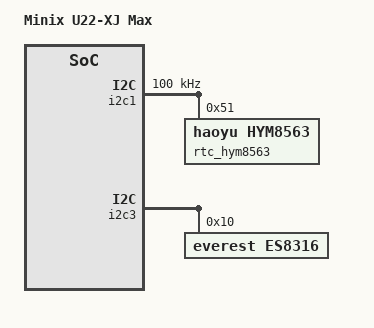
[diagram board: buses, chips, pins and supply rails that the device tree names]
#include "g12b_a311d_w400_linux.dts"
#include "coreelec_g12b_common.dtsi"

/ {
	model = "Minix U22-XJ Max";
	coreelec-dt-id = "g12b_s922x_minix_u22xj_max";

	memory@0 {
		linux,usable-memory = <0x0 0x0 0x0 0xf5000000>;
	};

	reserved-memory {
		secmon_reserved:linux,secmon {
			size = <0x0 0x2300000>;
			alloc-ranges = <0x0 0x05000000 0x0 0x2300000>;
		};
	};

	secmon {
		reserve_mem_size = <0x02300000>;
		clear_range = <0x05300000 0x2000000>;
	};

	/delete-node/ rtc;

	auge_sound {
		/delete-property/ avout_mute-gpios;

		aml-audio-card,dai-link@1 {
			codec {
				sound-dai = <&es8316>;
			};
		};
	};

};

&pinctrl_periphs {
	external_eth_pins {
		mux {
			groups = "eth_mdio",
			"eth_mdc",
			"eth_rgmii_rx_clk",
			"eth_rx_dv",
			"eth_rxd0",
			"eth_rxd1",
			"eth_rxd2_rgmii",
			"eth_rxd3_rgmii",
			"eth_rgmii_tx_clk",
			"eth_txen",
			"eth_txd0",
			"eth_txd1",
			"eth_txd2_rgmii",
			"eth_txd3_rgmii";
			function = "eth";
			drive-strength = <3>;
		};
	};
};

&pinctrl_periphs {
	a_uart_pins:a_uart {
		mux {
			groups = "uart_a_tx",
				"uart_a_rx",
				"uart_a_cts",
				"uart_a_rts";
		};
		/delete-node/ mux1;
	};
};

&i2c1 {
	status = "okay";
	pinctrl-names = "default";
	pinctrl-0 = <&i2c1_master_pins3>;
	clock-frequency = <100000>;

	rtc_hym8563: rtc_hym8563@51 {
		compatible = "haoyu,hym8563";
		reg = <0x51>;
	};
};

&i2c3 {
	es8316: es8316@10 {
		compatible = "everest,es8316";
		#sound-dai-cells = <0>;
		reg = <0x10>;
		status = "okay";
	};
};

/* the sd card stops responding while GPIOH_5 is low, keep the u-boot level */
&u2p0port1 {
	/delete-property/ gpio-vbus-power;
	/delete-property/ gpios;
};

&vddio_c {
	gpio = <&gpio_ao GPIOAO_2 GPIO_ACTIVE_HIGH>;
};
